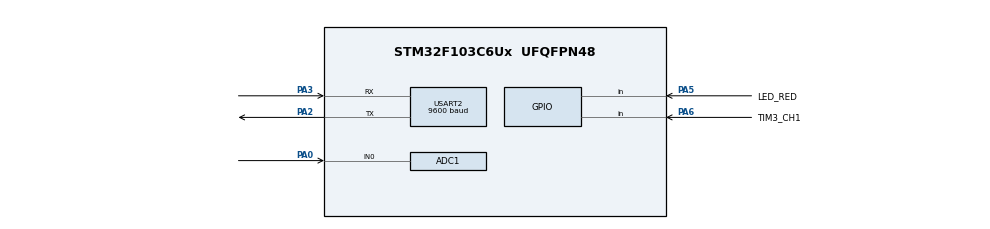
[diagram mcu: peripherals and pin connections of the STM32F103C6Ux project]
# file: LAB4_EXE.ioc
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ADC1.Channel-0\#ChannelRegularConversion=ADC_CHANNEL_0
ADC1.ContinuousConvMode=ENABLE
ADC1.NbrOfConversionFlag=1
ADC1.Rank-0\#ChannelRegularConversion=1
ADC1.SamplingTime-0\#ChannelRegularConversion=ADC_SAMPLETIME_1CYCLE_5
ADC1.master=1
Mcu.Family=STM32F1
Mcu.Name=STM32F103C6Ux
Mcu.Package=UFQFPN48
NVIC.PriorityGroup=NVIC_PRIORITYGROUP_4
NVIC.TIM2_IRQn=true\:0\:0\:false\:false\:true\:true\:true
NVIC.USART2_IRQn=true\:0\:0\:false\:false\:true\:true\:true
PA0-WKUP.Signal=ADCx_IN0
PA2.Mode=Asynchronous
PA2.Signal=USART2_TX
PA3.Mode=Asynchronous
PA3.Signal=USART2_RX
PA5.GPIO_Label=LED_RED
PA5.Signal=GPIO_Input
PA6.GPIO_Label=TIM3_CH1
PA6.Signal=GPIO_Input
ProjectManager.HeapSize=0x200
ProjectManager.StackSize=0x400
ProjectManager.TargetToolchain=STM32CubeIDE
RCC.APB1Freq_Value=8000000
RCC.APB2Freq_Value=8000000
SH.ADCx_IN0.0=ADC1_IN0,IN0
TIM2.Period=9
TIM2.Prescaler=7999
USART2.BaudRate=9600
USART2.VirtualMode=VM_ASYNC
VP_SYS_VS_ND.Mode=No_Debug
VP_TIM2_VS_ClockSourceINT.Mode=Internal
board=custom

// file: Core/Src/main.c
/* USER CODE BEGIN Header */
/**
  ******************************************************************************
  * @file           : main.c
  * @brief          : Main program body
  ******************************************************************************
  * @attention
  *
  * <h2><center>&copy; Copyright (c) 2023 STMicroelectronics.
  * All rights reserved.</center></h2>
  *
  * This software component is licensed by ST under BSD 3-Clause license,
  * the "License"; You may not use this file except in compliance with the
  * License. You may obtain a copy of the License at:
  *                        opensource.org/licenses/BSD-3-Clause
  *
  ******************************************************************************
  */
/* USER CODE END Header */
#include "fsm.h"

#include <stdio.h>
#include <string.h>

ADC_HandleTypeDef hadc1;

TIM_HandleTypeDef htim2;

UART_HandleTypeDef huart2;

/* USER CODE BEGIN PV */
uint8_t tx_buffer[27] = "Hello\n\r";
/* USER CODE END PV */

void SystemClock_Config(void);
static void MX_GPIO_Init(void);
static void MX_ADC1_Init(void);
static void MX_USART2_UART_Init(void);
static void MX_TIM2_Init(void);

/* USER CODE BEGIN 0 */
#define MAX_BUFFER_SIZE 30
uint8_t temp = 0;
uint8_t buffer [ MAX_BUFFER_SIZE ];
uint8_t index_buffer = 0;
uint8_t buffer_flag = 0;
uint8_t curr_index_buffer = 0;
uint8_t command_flag = 0;
char command_data [MAX_BUFFER_SIZE]= "";
//uint32_t ADC_value = 0;

void HAL_UART_RxCpltCallback ( UART_HandleTypeDef * huart ) {
	if( huart->Instance == USART2 ) {
		HAL_UART_Transmit (&huart2 , &temp , 1, 50);
		buffer [ index_buffer++] = temp ;
		if( index_buffer == 30) index_buffer = 0;
		buffer_flag = 1;
//		HAL_UART_Transmit (&huart2 , &temp, 1, 1000);
		HAL_UART_Receive_IT (& huart2 , & temp , 1) ;
	}
}

/* USER CODE END 0 */

int main(void)
{

  /* MCU Configuration--------------------------------------------------------*/

  /* Reset of all peripherals, Initializes the Flash interface and the Systick. */
  HAL_Init();

  /* Configure the system clock */
  SystemClock_Config();

  /* Initialize all configured peripherals */
  MX_GPIO_Init();
  MX_ADC1_Init();
  MX_USART2_UART_Init();
  MX_TIM2_Init();

  /* USER CODE BEGIN 2 */
  HAL_UART_Receive_IT (&huart2 , &temp , 1) ;
  HAL_ADC_Start(&hadc1);
  HAL_TIM_Base_Start_IT(&htim2);
  /* USER CODE END 2 */

  /* Infinite loop */
  while (1)
  {
//	  HAL_ADC_Start(&hadc1);
//	  HAL_ADC_PollForConversion(&hadc1, 20);
//	  ADC_value = HAL_ADC_GetValue(&hadc1);
//	  sprintf(str, "ADC_value: %lu \r\n",ADC_value);
//
//	  HAL_UART_Transmit(&huart2 , (uint8_t *)str , strlen(str) , HAL_MAX_DELAY) ;
//	  HAL_Delay (500) ;
	  if( buffer_flag == 1) {
	  		  command_parser_fsm () ;
	  //		  int len = sprintf ( str , "get: %c\r\n", buffer[curr_index_buffer++] );
	  //		  HAL_UART_Transmit (&huart2 , (void *) str, len, 1000);
	  //		  if(curr_index_buffer==30) curr_index_buffer = 0;
	  		  buffer_flag = 0;
	  	  }
	  	  uart_communiation_fsm () ;
  }
}

void SystemClock_Config(void)
{
  RCC_OscInitTypeDef RCC_OscInitStruct = {0};
  RCC_ClkInitTypeDef RCC_ClkInitStruct = {0};
  RCC_PeriphCLKInitTypeDef PeriphClkInit = {0};

  /** Initializes the RCC Oscillators according to the specified parameters
  * in the RCC_OscInitTypeDef structure.
  */
  RCC_OscInitStruct.OscillatorType = RCC_OSCILLATORTYPE_HSI;
  RCC_OscInitStruct.HSIState = RCC_HSI_ON;
  RCC_OscInitStruct.HSICalibrationValue = RCC_HSICALIBRATION_DEFAULT;
  RCC_OscInitStruct.PLL.PLLState = RCC_PLL_NONE;
  if (HAL_RCC_OscConfig(&RCC_OscInitStruct) != HAL_OK)
  {
    Error_Handler();
  }
  /** Initializes the CPU, AHB and APB buses clocks
  */
  RCC_ClkInitStruct.ClockType = RCC_CLOCKTYPE_HCLK|RCC_CLOCKTYPE_SYSCLK
                              |RCC_CLOCKTYPE_PCLK1|RCC_CLOCKTYPE_PCLK2;
  RCC_ClkInitStruct.SYSCLKSource = RCC_SYSCLKSOURCE_HSI;
  RCC_ClkInitStruct.AHBCLKDivider = RCC_SYSCLK_DIV1;
  RCC_ClkInitStruct.APB1CLKDivider = RCC_HCLK_DIV1;
  RCC_ClkInitStruct.APB2CLKDivider = RCC_HCLK_DIV1;

  if (HAL_RCC_ClockConfig(&RCC_ClkInitStruct, FLASH_LATENCY_0) != HAL_OK)
  {
    Error_Handler();
  }
  PeriphClkInit.PeriphClockSelection = RCC_PERIPHCLK_ADC;
  PeriphClkInit.AdcClockSelection = RCC_ADCPCLK2_DIV2;
  if (HAL_RCCEx_PeriphCLKConfig(&PeriphClkInit) != HAL_OK)
  {
    Error_Handler();
  }
}

static void MX_ADC1_Init(void)
{

  ADC_ChannelConfTypeDef sConfig = {0};

  /** Common config
  */
  hadc1.Instance = ADC1;
  hadc1.Init.ScanConvMode = ADC_SCAN_DISABLE;
  hadc1.Init.ContinuousConvMode = ENABLE;
  hadc1.Init.DiscontinuousConvMode = DISABLE;
  hadc1.Init.ExternalTrigConv = ADC_SOFTWARE_START;
  hadc1.Init.DataAlign = ADC_DATAALIGN_RIGHT;
  hadc1.Init.NbrOfConversion = 1;
  if (HAL_ADC_Init(&hadc1) != HAL_OK)
  {
    Error_Handler();
  }
  /** Configure Regular Channel
  */
  sConfig.Channel = ADC_CHANNEL_0;
  sConfig.Rank = ADC_REGULAR_RANK_1;
  sConfig.SamplingTime = ADC_SAMPLETIME_1CYCLE_5;
  if (HAL_ADC_ConfigChannel(&hadc1, &sConfig) != HAL_OK)
  {
    Error_Handler();
  }

}

static void MX_TIM2_Init(void)
{

  TIM_ClockConfigTypeDef sClockSourceConfig = {0};
  TIM_MasterConfigTypeDef sMasterConfig = {0};

  htim2.Instance = TIM2;
  htim2.Init.Prescaler = 7999;
  htim2.Init.CounterMode = TIM_COUNTERMODE_UP;
  htim2.Init.Period = 9;
  htim2.Init.ClockDivision = TIM_CLOCKDIVISION_DIV1;
  htim2.Init.AutoReloadPreload = TIM_AUTORELOAD_PRELOAD_DISABLE;
  if (HAL_TIM_Base_Init(&htim2) != HAL_OK)
  {
    Error_Handler();
  }
  sClockSourceConfig.ClockSource = TIM_CLOCKSOURCE_INTERNAL;
  if (HAL_TIM_ConfigClockSource(&htim2, &sClockSourceConfig) != HAL_OK)
  {
    Error_Handler();
  }
  sMasterConfig.MasterOutputTrigger = TIM_TRGO_RESET;
  sMasterConfig.MasterSlaveMode = TIM_MASTERSLAVEMODE_DISABLE;
  if (HAL_TIMEx_MasterConfigSynchronization(&htim2, &sMasterConfig) != HAL_OK)
  {
    Error_Handler();
  }

}

static void MX_USART2_UART_Init(void)
{

  huart2.Instance = USART2;
  huart2.Init.BaudRate = 9600;
  huart2.Init.WordLength = UART_WORDLENGTH_8B;
  huart2.Init.StopBits = UART_STOPBITS_1;
  huart2.Init.Parity = UART_PARITY_NONE;
  huart2.Init.Mode = UART_MODE_TX_RX;
  huart2.Init.HwFlowCtl = UART_HWCONTROL_NONE;
  huart2.Init.OverSampling = UART_OVERSAMPLING_16;
  if (HAL_UART_Init(&huart2) != HAL_OK)
  {
    Error_Handler();
  }

}

static void MX_GPIO_Init(void)
{
  GPIO_InitTypeDef GPIO_InitStruct = {0};

  /* GPIO Ports Clock Enable */
  __HAL_RCC_GPIOA_CLK_ENABLE();

  /*Configure GPIO pins : LED_RED_Pin TIM3_CH1_Pin */
  GPIO_InitStruct.Pin = LED_RED_Pin|TIM3_CH1_Pin;
  GPIO_InitStruct.Mode = GPIO_MODE_INPUT;
  GPIO_InitStruct.Pull = GPIO_NOPULL;
  HAL_GPIO_Init(GPIOA, &GPIO_InitStruct);

}

/* USER CODE BEGIN 4 */
void HAL_TIM_PeriodElapsedCallback(TIM_HandleTypeDef *htim)
{

	timerRun();
}
/* USER CODE END 4 */

void Error_Handler(void)
{
  __disable_irq();
  while (1)
  {
  }
}

/************************ (C) COPYRIGHT STMicroelectronics *****END OF FILE****/
